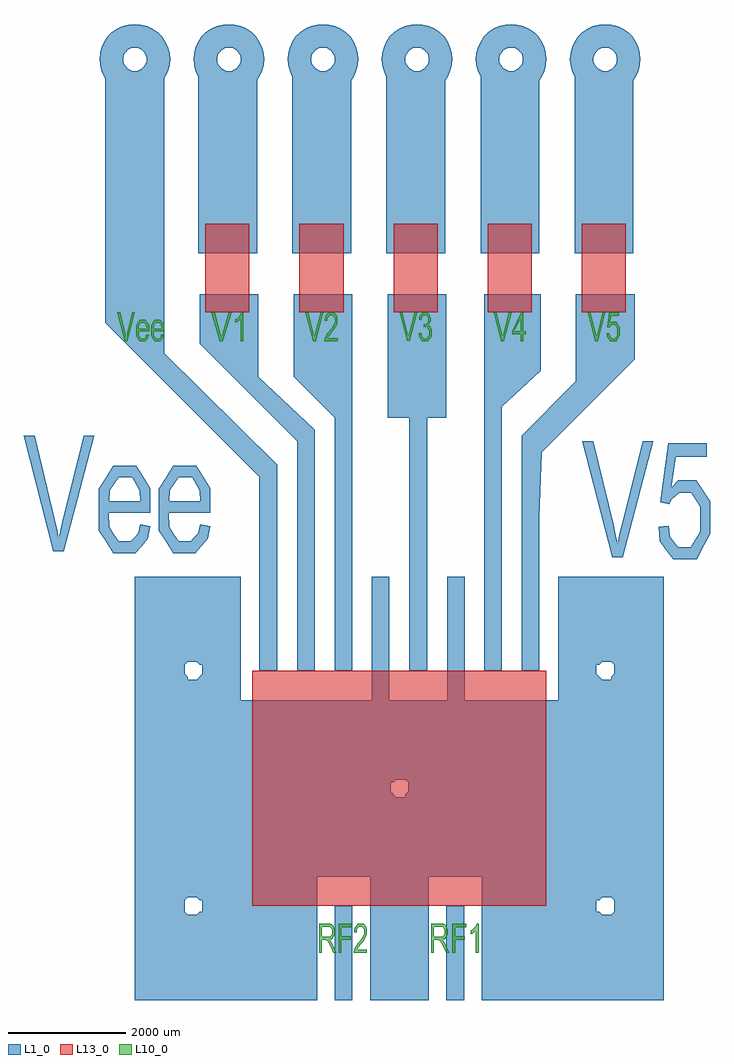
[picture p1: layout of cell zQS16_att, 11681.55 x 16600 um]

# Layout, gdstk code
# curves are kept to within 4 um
from math import pi, radians
import gdstk
lib = gdstk.Library(unit=1e-6, precision=1e-09)
def R(c, l, rs):  # rectangles x0, y0, x1, y1
    for r in rs: c.add(gdstk.rectangle(r[:2], r[2:], *l))
def P(c, l, *ps):  # polygons
    for p in ps: c.add(gdstk.Polygon(p, *l))
L1_0 = (1, 0)
L10_0 = (10, 0)
L13_0 = (13, 0)
L99_1 = (99, 1)
L99_2 = (99, 2)
L128_0 = (128, 0)
L129_0 = (129, 0)

zpin = lib.new_cell('zpin')
P(zpin, L1_0, [(0,-200),(0,-600),(100,-590),(210,-560),(300,-520),(390,-460),(460,-390),(520,-300),(560,-210),(590,-100),(600,0),(590,100),(560,210),(520,300),(460,390),(390,460),(300,520),(210,560),(100,590),(0,600),(-100,590),(-210,560),(-300,520),(-390,460),(-460,390),(-520,300),(-560,210),(-590,100),(-600,0),(-590,-100),(-560,-210),(-520,-300),(-460,-390),(-390,-460),(-300,-520),(-210,-560),(-100,-590),(0,-600),(0,-200),(-30,-200),(-70,-190),(-150,-130),(-190,-70),(-200,-30),(-200,30),(-190,70),(-130,150),(-70,190),(-30,200),(30,200),(70,190),(150,130),(190,70),(200,30),(200,-30),(190,-70),(130,-150),(70,-190),(30,-200)])

zsmd = lib.new_cell('zSMD')
R(zsmd, L13_0, [(0,0,1500,750)])
zsmd.add(gdstk.FlexPath([(450,0),(450,750)], 0, ends="round", simple_path=True, layer=99, datatype=1))  # L99_1
zsmd.add(gdstk.FlexPath([(1050,750),(1050,0)], 0, ends="round", simple_path=True, layer=99, datatype=2))  # L99_2

zqs16_att = lib.new_cell('zQS16_att')
R(zqs16_att, L1_0, [(-1100,-3600,-800,-2000), (800,-3600,1100,-2000), (-470,1500,-170,2000), (810,1500,1110,2000), (-2380,2000,-2080,4600), (-1740,2000,-1440,4600), (-1100,2000,-800,6300), (-470,2000,-170,3600), (170,2000,470,6300), (810,2000,1110,3600), (1440,2000,1740,4600), (2080,2000,2380,4600), (-200,6300,800,8400)])
P(zqs16_att, L1_0, [(-3600,1850),(-3600,1900),(-3650,1950),(-3650,2100),(-3600,2150),(-3450,2150),(-3400,2100),(-3350,2100),(-3350,1950),(-3450,1850),(-3500,1850),(-3500,-1850),(-3450,-1850),(-3400,-1900),(-3350,-1900),(-3350,-2100),(-3400,-2100),(-3450,-2150),(-3500,-2150),(-3500,-3600),(-1400,-3600),(-1400,-1500),(-500,-1500),(-500,-3600),(0,-3600),(0,-150),(-50,-150),(-150,-50),(-150,100),(-100,100),(-50,150),(100,150),(150,100),(150,-50),(100,-100),(100,-150),(0,-150),(0,-3600),(500,-3600),(500,-1500),(1400,-1500),(1400,-3600),(3500,-3600),(3500,-2150),(3450,-2150),(3400,-2100),(3350,-2100),(3350,-1900),(3400,-1900),(3450,-1850),(3500,-1850),(3500,1850),(3450,1850),(3350,1950),(3350,2100),(3400,2100),(3450,2150),(3600,2150),(3650,2100),(3650,1950),(3600,1900),(3600,1850),(3500,1850),(3500,-1850),(3600,-1850),(3650,-1900),(3650,-2100),(3600,-2150),(3500,-2150),(3500,-3600),(4500,-3600),(4500,3600),(2700,3600),(2700,1500),(-2700,1500),(-2700,3600),(-4500,3600),(-4500,-3600),(-3500,-3600),(-3500,-2150),(-3600,-2150),(-3650,-2100),(-3650,-1900),(-3600,-1850),(-3500,-1850),(-3500,1850)],
  [(-4000,8400),(-4000,7398.901),(-2080,5500),(-2080,4600),(-2380,4600),(-2380,5300),(-5000,7920),(-5000,8400)],
  [(-2400,8400),(-2400,7000),(-1440,6100),(-1440,4600),(-1740,4600),(-1740,5900),(-3400,7560),(-3400,8400)],
  [(2080,6000),(3000,6920),(3000,8400),(4000,8400),(4000,7300),(2417.241,5717.241),(2380,4600),(2080,4600)],
  [(1440,8400),(2400,8400),(2400,7100),(1740,6492.105),(1740,4600),(1440,4600)],
  [(3801.267,3933.535),(4319.986,5900),(4141.055,5900),(3783.191,4471.427),(3742.526,4310.463),(3711.802,4149.498),(3683.785,4299.73),(3642.215,4471.427),(3297.908,5900),(3108.132,5900),(3621.432,3933.535)],
  [(-5705.486,4032.214),(-5191.763,6000),(-5368.97,6000),(-5723.388,4570.467),(-5763.661,4409.395),(-5794.09,4248.322),(-5821.837,4398.655),(-5863.006,4570.467),(-6203.998,6000),(-6391.947,6000),(-5883.589,4032.214)],
  [(-800,6300),(-800,8400),(-1800,8400),(-1800,7000),(-1100,6300)],
  [(4427.475,4200.469),(4656.11,3900),(5057.35,3900),(5289.6,4333.265),(5289.6,4880.547),(5051.024,5237.358),(4746.48,5237.358),(4627.192,5113.952),(4698.584,5642.455),(5227.244,5642.455),(5227.244,5873.169),(4568.451,5873.169),(4440.127,4863.111),(4592.853,4833.6),(4628.998,4918.11),(4755.516,5024.075),(4960.654,5024.075),(5116.992,4785.309),(5116.992,4361.434),(4954.328,4098.523),(4739.25,4098.523),(4600.984,4284.975),(4582.007,4470.089),(4411.208,4448.625)],
  [(-4442.705,4338.254),(-4568.005,4198.656),(-4775.641,4198.656),(-4934.949,4448.322),(-4943.899,4683.222),(-4934.949,4683.222),(-4934.949,4881.878),(-4926.896,5068.456),(-4775.641,5291.273),(-4542.05,5291.273),(-4414.961,5061.742),(-4404.22,4881.878),(-4934.949,4881.878),(-4934.949,4683.222),(-4235.066,4683.222),(-4234.17,5100.669),(-4475.818,5489.934),(-4863.352,5489.934),(-5110.368,5092.617),(-5110.368,4385.233),(-4866.036,4000),(-4491.928,4000),(-4278.92,4241.609),(-4239.543,4460.4),(-4406.009,4491.275)],
  [(-3423.335,4338.254),(-3548.635,4198.656),(-3756.27,4198.656),(-3915.579,4448.322),(-3924.528,4683.222),(-3915.579,4683.222),(-3915.579,4881.878),(-3907.525,5068.456),(-3756.27,5291.273),(-3522.679,5291.273),(-3395.591,5061.742),(-3384.85,4881.878),(-3915.579,4881.878),(-3915.579,4683.222),(-3215.696,4683.222),(-3214.8,5100.669),(-3456.447,5489.934),(-3843.981,5489.934),(-4090.997,5092.617),(-4090.997,4385.233),(-3846.666,4000),(-3472.557,4000),(-3259.55,4241.609),(-3220.172,4460.4),(-3386.638,4491.275)])
P(zqs16_att, L10_0, [(-3000.472,7600),(-2852.884,8097.962),(-2903.794,8097.962),(-3005.615,7736.209),(-3017.186,7695.448),(-3025.927,7654.688),(-3033.899,7692.731),(-3045.726,7736.209),(-3143.69,8097.962),(-3197.686,8097.962),(-3051.64,7600)],
  [(585.928,-2800),(585.928,-2357.066),(737.695,-2357.066),(774.244,-2402.581),(774.244,-2462.025),(755.364,-2503.125),(719.056,-2521.807),(585.928,-2521.807),(585.928,-2578.872),(658.544,-2578.872),(677.424,-2584.986),(698.482,-2604.008),(725.108,-2651.563),(792.641,-2800),(851.701,-2800),(771.582,-2624.728),(741.326,-2586.005),(722.687,-2573.438),(773.761,-2563.587),(822.655,-2490.897),(822.655,-2396.807),(793.124,-2328.872),(743.746,-2302.038),(538.971,-2302.038),(538.971,-2800)],
  [(1776.556,7600),(1907.151,8100),(1862.103,8100),(1772.005,7736.766),(1761.766,7695.839),(1754.031,7654.912),(1746.977,7693.11),(1736.512,7736.766),(1649.826,8100),(1602.047,8100),(1731.279,7600)],
  [(-1422.781,7600),(-1291.695,8097.962),(-1336.913,8097.962),(-1427.349,7736.209),(-1437.626,7695.448),(-1445.39,7654.688),(-1452.471,7692.731),(-1462.976,7736.209),(-1549.986,8097.962),(-1597.945,8097.962),(-1468.228,7600)],
  [(3375.317,7608.384),(3504.996,8100),(3460.264,8100),(3370.798,7742.857),(3360.632,7702.616),(3352.951,7662.375),(3345.946,7699.933),(3335.554,7742.857),(3249.477,8100),(3202.033,8100),(3330.358,7608.384)],
  [(176.116,7608.679),(306.387,8097.998),(261.451,8097.998),(171.577,7742.523),(161.364,7702.47),(153.648,7662.417),(146.612,7699.8),(136.172,7742.523),(49.703,8097.998),(2.042,8097.998),(130.953,7608.679)],
  [(-4626.372,7608.053),(-4497.941,8100),(-4542.243,8100),(-4630.847,7742.617),(-4640.915,7702.349),(-4648.522,7662.081),(-4655.459,7699.664),(-4665.752,7742.617),(-4751,8100),(-4797.987,8100),(-4670.897,7608.053)],
  [(-1320.195,-2800),(-1320.195,-2357.066),(-1179.242,-2357.066),(-1145.298,-2402.581),(-1145.298,-2462.025),(-1162.832,-2503.125),(-1196.553,-2521.807),(-1320.195,-2521.807),(-1320.195,-2578.872),(-1252.753,-2578.872),(-1235.219,-2584.986),(-1215.661,-2604.008),(-1190.933,-2651.563),(-1128.212,-2800),(-1073.36,-2800),(-1147.77,-2624.728),(-1175.87,-2586.005),(-1193.181,-2573.438),(-1145.747,-2563.587),(-1100.337,-2490.897),(-1100.337,-2396.807),(-1127.763,-2328.872),(-1173.622,-2302.038),(-1363.806,-2302.038),(-1363.806,-2800)],
  [(945.61,-2800),(945.61,-2573.777),(1112.142,-2573.777),(1112.142,-2515.014),(945.61,-2515.014),(945.61,-2360.802),(1138.042,-2360.802),(1138.042,-2302.038),(898.652,-2302.038),(898.652,-2800)],
  [(2102.351,7600),(2102.351,7719.713),(2147.4,7719.713),(2147.4,7775.989),(2102.351,7775.989),(2102.351,8100),(2068.906,8100),(1916.695,7775.989),(1916.695,7719.713),(2061.397,7719.713),(2061.397,7775.989),(1956.966,7775.989),(2061.397,8001.432),(2061.397,7600)],
  [(-1216.801,7658.763),(-1188.939,7708.356),(-1107.638,7810.258),(-1069.5,7874.117),(-1053.056,7931.861),(-1053.056,8020.517),(-1109.237,8100),(-1205.154,8100),(-1261.79,8026.291),(-1266.13,7955.978),(-1223.881,7949.525),(-1223.652,7996.4),(-1188.026,8049.389),(-1130.247,8049.389),(-1095.306,7999.456),(-1095.306,7928.465),(-1133.673,7850.679),(-1223.424,7741.304),(-1260.649,7676.087),(-1274.351,7622.079),(-1273.894,7600),(-1052.6,7600),(-1052.6,7658.763)],
  [(-986.143,-2800),(-986.143,-2573.777),(-831.477,-2573.777),(-831.477,-2515.014),(-986.143,-2515.014),(-986.143,-2360.802),(-807.423,-2360.802),(-807.423,-2302.038),(-1029.754,-2302.038),(-1029.754,-2800)],
  [(-716.134,-2741.237),(-688.708,-2691.644),(-608.678,-2589.742),(-571.135,-2525.883),(-554.949,-2468.139),(-554.949,-2379.483),(-610.251,-2300),(-704.669,-2300),(-760.42,-2373.709),(-764.692,-2444.022),(-723.103,-2450.475),(-722.878,-2403.6),(-687.809,-2350.611),(-630.933,-2350.611),(-596.538,-2400.544),(-596.538,-2471.535),(-634.305,-2549.321),(-722.654,-2658.696),(-759.296,-2723.913),(-772.785,-2777.921),(-772.335,-2800),(-554.5,-2800),(-554.5,-2741.237)],
  [(333.61,7676.77),(391.483,7600),(483.853,7600),(547.4,7689.119),(547.4,7800.601),(514.718,7863.685),(485.215,7873.699),(507.91,7889.053),(531.059,7941.122),(531.059,8006.208),(506.775,8065.621),(460.93,8100),(394.206,8100),(341.098,8033.578),(333.61,7973.164),(374.461,7962.484),(379,8006.542),(410.774,8050.601),(458.661,8050.601),(489.073,8007.209),(489.073,7932.443),(447.313,7892.39),(414.632,7893.057),(410.093,7840.321),(427.342,7846.996),(467.285,7846.996),(504.052,7793.257),(504.052,7708.478),(464.335,7649.733),(411.228,7649.733),(377.411,7694.793),(370.376,7745.861),(329.524,7737.851)],
  [(3531.869,7675.117),(3589.028,7600),(3689.337,7600),(3747.4,7708.316),(3747.4,7845.137),(3687.756,7934.34),(3611.62,7934.34),(3581.798,7903.488),(3599.646,8035.614),(3731.811,8035.614),(3731.811,8093.292),(3567.113,8093.292),(3535.032,7840.778),(3573.213,7833.4),(3582.249,7854.528),(3613.879,7881.019),(3665.164,7881.019),(3704.248,7821.327),(3704.248,7715.358),(3663.582,7649.631),(3609.812,7649.631),(3575.246,7696.244),(3570.502,7742.522),(3527.802,7737.156)],
  [(-2652.6,8100),(-2682.426,8100),(-2694.511,8067.731),(-2752.62,7999.117),(-2791.446,7975.001),(-2791.446,7915.896),(-2715.595,7968.546),(-2698.882,7989.605),(-2698.882,7600),(-2652.6,7600)],
  [(1345.5,-2300),(1317.422,-2300),(1306.046,-2332.269),(1251.342,-2400.883),(1214.792,-2424.999),(1214.792,-2484.104),(1286.197,-2431.454),(1301.931,-2410.395),(1301.931,-2800),(1345.5,-2800)],
  [(-4310.676,7684.564),(-4342.001,7649.664),(-4393.91,7649.664),(-4433.737,7712.08),(-4431.724,7867.114),(-4393.91,7922.818),(-4335.512,7922.818),(-4303.74,7865.436),(-4301.055,7820.47),(-4433.737,7820.47),(-4433.737,7770.806),(-4258.767,7770.806),(-4258.543,7875.167),(-4318.954,7972.483),(-4415.838,7972.483),(-4477.592,7873.154),(-4477.592,7696.308),(-4416.509,7600),(-4322.982,7600),(-4269.73,7660.402),(-4259.886,7715.1),(-4301.502,7722.819)],
  [(-4055.834,7684.564),(-4087.159,7649.664),(-4139.068,7649.664),(-4178.895,7712.08),(-4176.881,7867.114),(-4139.068,7922.818),(-4080.67,7922.818),(-4048.898,7865.436),(-4046.212,7820.47),(-4178.895,7820.47),(-4178.895,7770.806),(-4003.924,7770.806),(-4003.7,7875.167),(-4064.112,7972.483),(-4160.995,7972.483),(-4222.749,7873.154),(-4222.749,7696.308),(-4161.666,7600),(-4068.139,7600),(-4014.887,7660.402),(-4005.043,7715.1),(-4046.66,7722.819)])
R(zqs16_att, L13_0, [(-2500,-2000,2500,2000)])
zqs16_att.add(gdstk.FlexPath([(-4500,8900),(-4500,11600)], 1000, ends="extended", simple_path=True, layer=1, datatype=0))  # L1_0
zqs16_att.add(gdstk.FlexPath([(-2920,9600),(-2920,11600)], 1000, ends="extended", simple_path=True, layer=1, datatype=0))  # L1_0
zqs16_att.add(gdstk.FlexPath([(280,9600),(280,11600)], 1000, ends="extended", simple_path=True, layer=1, datatype=0))  # L1_0
zqs16_att.add(gdstk.FlexPath([(3480,9600),(3480,11600)], 1000, ends="extended", simple_path=True, layer=1, datatype=0))  # L1_0
zqs16_att.add(gdstk.FlexPath([(1880,9600),(1880,11600)], 1000, ends="extended", simple_path=True, layer=1, datatype=0))  # L1_0
zqs16_att.add(gdstk.FlexPath([(-1320,9600),(-1320,11600)], 1000, ends="extended", simple_path=True, layer=1, datatype=0))  # L1_0
zqs16_att.add(gdstk.FlexPath([(-800,-2000),(-1100,-2000)], 0, ends="round", simple_path=True, layer=13, datatype=0))  # L13_0
zqs16_att.add(gdstk.FlexPath([(150,2000),(1100,2000)], 0, ends="round", simple_path=True, layer=128, datatype=0))  # L128_0
zqs16_att.add(gdstk.FlexPath([(1100,-2000),(800,-2000)], 0, ends="round", simple_path=True, layer=128, datatype=0))  # L128_0
zqs16_att.add(gdstk.FlexPath([(1100,-2000),(800,-2000)], 0, ends="round", simple_path=True, layer=13, datatype=0))  # L13_0
zqs16_att.add(gdstk.FlexPath([(1100,-2000),(800,-2000)], 0, ends="round", simple_path=True, layer=129, datatype=0))  # L129_0
zqs16_att.add(gdstk.FlexPath([(-800,-2000),(-1100,-2000)], 0, ends="round", simple_path=True, layer=129, datatype=0))  # L129_0
zqs16_att.add(gdstk.FlexPath([(-800,-2000),(-1100,-2000)], 0, ends="round", simple_path=True, layer=1, datatype=0))  # L1_0
zqs16_att.add(gdstk.Reference(zpin, (-2900,12400)))
zqs16_att.add(gdstk.Reference(zpin, (-4500,12400)))
zqs16_att.add(gdstk.Reference(zpin, (-1300,12400)))
zqs16_att.add(gdstk.Reference(zpin, (300,12400)))
zqs16_att.add(gdstk.Reference(zpin, (1900,12400)))
zqs16_att.add(gdstk.Reference(zpin, (3500,12400)))
zqs16_att.add(gdstk.Reference(zsmd, (-3300,9600), rotation=3*pi/2))
zqs16_att.add(gdstk.Reference(zsmd, (-1700,9600), rotation=3*pi/2))
zqs16_att.add(gdstk.Reference(zsmd, (-100,9600), rotation=3*pi/2))
zqs16_att.add(gdstk.Reference(zsmd, (1500,9600), rotation=3*pi/2))
zqs16_att.add(gdstk.Reference(zsmd, (3100,9600), rotation=3*pi/2))

lib.write_gds('zQS16_att.gds')
